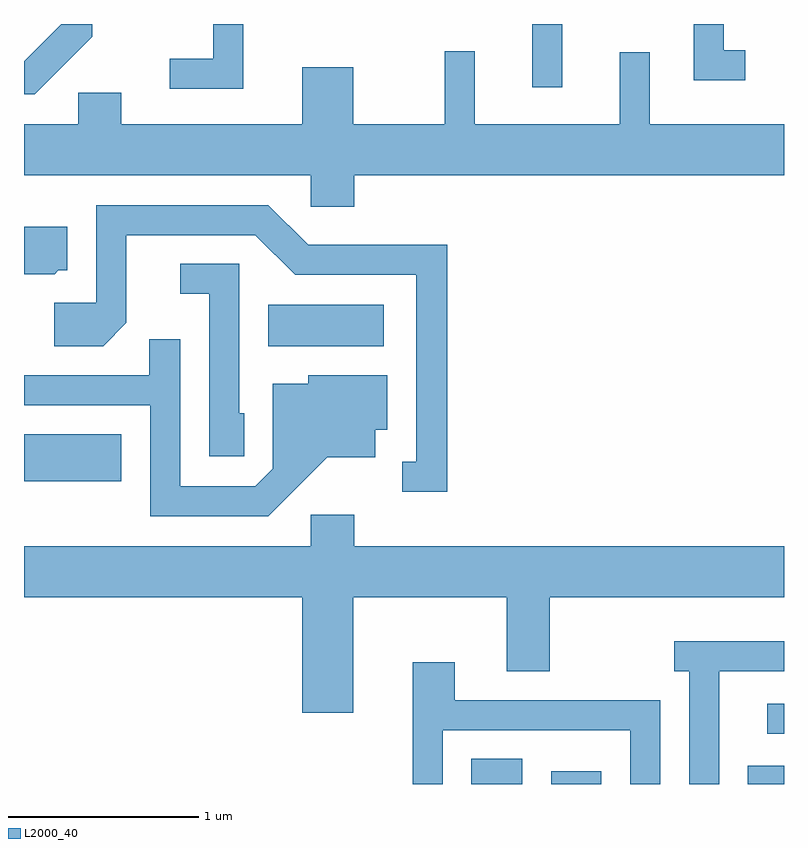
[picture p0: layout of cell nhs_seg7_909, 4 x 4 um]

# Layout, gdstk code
import gdstk
lib = gdstk.Library(unit=1e-6, precision=1e-09)
def R(c, l, rs):  # rectangles x0, y0, x1, y1
    for r in rs: c.add(gdstk.rectangle(r[:2], r[2:], *l))
def P(c, l, *ps):  # polygons
    for p in ps: c.add(gdstk.Polygon(p, *l))
L2000_40 = (2000, 40)

nhs_seg7_909 = lib.new_cell('nhs_seg7_909')
R(nhs_seg7_909, L2000_40, [(215.966,1682.252,216.234,1682.384), (216.386,1682.252,216.649,1682.319), (217.421,1682.252,217.611,1682.349), (217.523,1682.516,217.611,1682.674), (213.611,1683.846,214.124,1684.094), (214.896,1684.556,215.504,1684.774), (216.286,1685.918,216.444,1686.252), (216.786,1686.251,216.984,1686.252)])
P(nhs_seg7_909, L2000_40, [(213.969,1686.184),(213.969,1686.252),(213.806,1686.252),(213.611,1686.056),(213.611,1685.881),(213.667,1685.881)],
  [(214.764,1686.252),(214.606,1686.252),(214.606,1686.069),(214.378,1686.069),(214.378,1685.911),(214.764,1685.911)],
  [(217.408,1686.114),(217.294,1686.114),(217.294,1686.252),(217.136,1686.252),(217.136,1685.956),(217.408,1685.956)],
  [(215.349,1685.456),(217.611,1685.456),(217.611,1685.724),(216.904,1685.724),(216.904,1686.103),(216.746,1686.103),(216.746,1685.724),(215.984,1685.724),(215.984,1686.108),(215.826,1686.108),(215.826,1685.724),(215.344,1685.724),(215.344,1686.024),(215.076,1686.024),(215.076,1685.724),(214.124,1685.724),(214.124,1685.889),(213.896,1685.889),(213.896,1685.724),(213.611,1685.724),(213.611,1685.456),(215.121,1685.456),(215.121,1685.291),(215.349,1685.291)],
  [(215.839,1685.089),(215.107,1685.089),(214.897,1685.299),(213.991,1685.299),(213.991,1684.784),(213.771,1684.784),(213.771,1684.556),(214.027,1684.556),(214.149,1684.679),(214.149,1685.141),(214.829,1685.141),(215.039,1684.931),(215.676,1684.931),(215.676,1683.949),(215.603,1683.949),(215.603,1683.791),(215.839,1683.791)],
  [(213.792,1684.956),(213.839,1684.956),(213.839,1685.184),(213.611,1685.184),(213.611,1684.936),(213.772,1684.936)],
  [(214.769,1684.204),(214.744,1684.204),(214.744,1684.989),(214.433,1684.989),(214.433,1684.831),(214.586,1684.831),(214.586,1683.976),(214.769,1683.976)],
  [(215.207,1683.971),(215.459,1683.971),(215.459,1684.116),(215.524,1684.116),(215.524,1684.404),(215.106,1684.404),(215.106,1684.359),(214.921,1684.359),(214.921,1683.912),(214.829,1683.819),(214.434,1683.819),(214.434,1684.593),(214.271,1684.593),(214.271,1684.404),(213.611,1684.404),(213.611,1684.246),(214.276,1684.246),(214.276,1683.661),(214.897,1683.661)],
  [(215.344,1683.236),(216.151,1683.236),(216.151,1682.846),(216.379,1682.846),(216.379,1683.236),(217.611,1683.236),(217.611,1683.504),(215.349,1683.504),(215.349,1683.669),(215.121,1683.669),(215.121,1683.504),(213.611,1683.504),(213.611,1683.236),(215.076,1683.236),(215.076,1682.626),(215.344,1682.626)],
  [(217.269,1682.846),(217.611,1682.846),(217.611,1683.004),(217.033,1683.004),(217.033,1682.846),(217.111,1682.846),(217.111,1682.252),(217.269,1682.252)],
  [(215.814,1682.536),(216.801,1682.536),(216.801,1682.252),(216.959,1682.252),(216.959,1682.694),(215.879,1682.694),(215.879,1682.894),(215.656,1682.894),(215.656,1682.252),(215.814,1682.252)])

lib.write_gds('nhs_seg7_909.gds')
